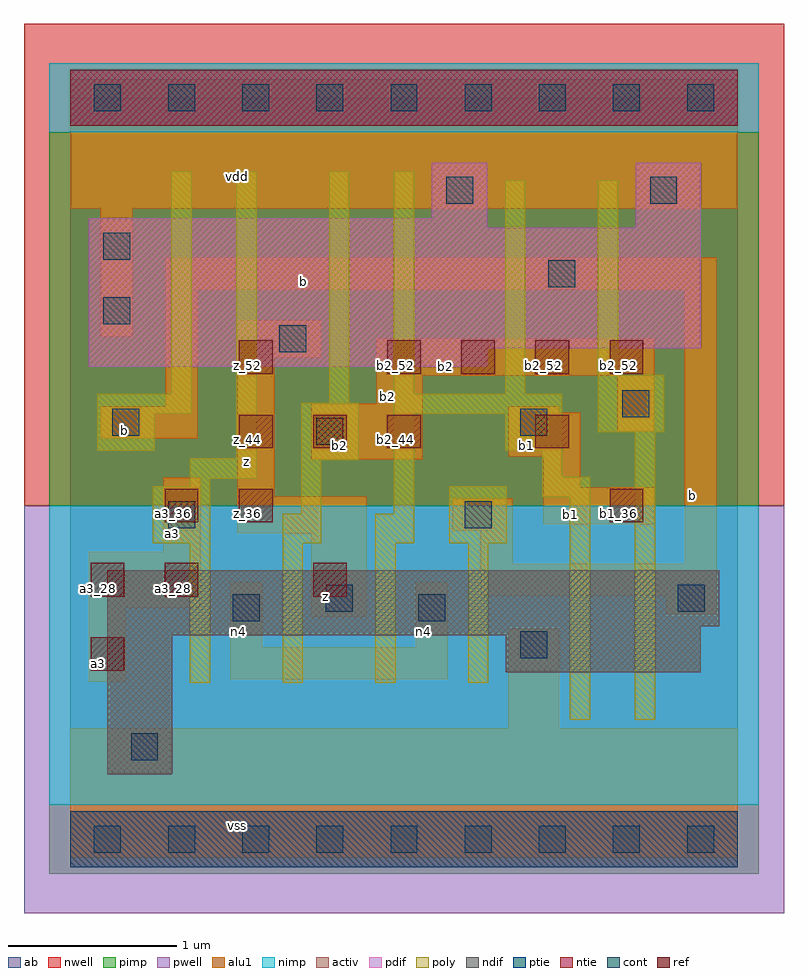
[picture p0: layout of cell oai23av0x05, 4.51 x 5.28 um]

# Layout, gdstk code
import gdstk
lib = gdstk.Library(unit=1e-6, precision=2.5e-09)
def R(c, l, rs):  # rectangles x0, y0, x1, y1
    for r in rs: c.add(gdstk.rectangle(r[:2], r[2:], *l))
def A(c, l, x, y, w, h, nx, ny, dx, dy):  # array of equal rectangles
    R(c, l, [(x+i*dx, y+j*dy, x+i*dx+w, y+j*dy+h) for i in range(nx) for j in range(ny)])
ndif = (3, 0)
pdif = (4, 0)
ntie = (5, 0)
ptie = (6, 0)
ref = (24, 0)
cont = (25, 0)
pwell = (41, 0)
nwell = (42, 0)
activ = (43, 0)
pimp = (44, 0)
nimp = (45, 0)
poly = (46, 0)
alu1 = (49, 0)
ab = (63, 0)

oai23av0x05 = lib.new_cell('oai23av0x05')
R(oai23av0x05, ndif, [(0.22,0.385,0.605,1.21), (2.585,0.99,3.74,1.21), (0.22,1.21,3.74,1.265), (0.22,1.265,3.85,1.595)])
R(oai23av0x05, pdif, [(0.11,2.805,2.475,2.915), (0.11,2.915,3.74,3.63), (0.11,3.63,2.475,3.685), (3.355,3.63,3.74,4.015), (2.145,3.685,2.475,4.015)])
R(oai23av0x05, ntie, [(0,4.235,3.96,4.565)])
R(oai23av0x05, ptie, [(0,-0.165,3.96,0.165)])
A(oai23av0x05, ref, 1, 2.32, 0.2, 0.2, 3, 1, 0.44, 0)
A(oai23av0x05, ref, 1.88, 2.76, 0.2, 0.2, 4, 1, 0.44, 0)
R(oai23av0x05, ref, [(0.12,1,0.32,1.2), (0.12,1.44,0.32,1.64), (0.56,1.44,0.76,1.64), (1.44,1.44,1.64,1.64), (0.56,1.88,0.76,2.08), (1,1.88,1.2,2.08), (3.2,1.88,3.4,2.08), (2.76,2.32,2.96,2.52), (1,2.76,1.2,2.96)])
A(oai23av0x05, cont, 0.14, -0.08, 0.16, 0.16, 9, 2, 0.44, 4.4)
R(oai23av0x05, cont, [(0.36,0.47,0.52,0.63), (2.67,1.075,2.83,1.235), (0.965,1.295,1.125,1.455), (2.065,1.295,2.225,1.455), (1.515,1.35,1.675,1.51), (3.605,1.35,3.765,1.51), (0.58,1.845,0.74,2.005), (2.34,1.845,2.5,2.005), (1.46,2.34,1.62,2.5), (0.25,2.395,0.41,2.555), (2.67,2.395,2.83,2.555), (3.275,2.505,3.435,2.665), (1.24,2.89,1.4,3.05), (0.195,3.055,0.355,3.215), (2.835,3.275,2.995,3.435), (0.195,3.44,0.355,3.6), (2.23,3.77,2.39,3.93), (3.44,3.77,3.6,3.93)])
R(oai23av0x05, pwell, [(-0.275,-0.44,4.235,1.98)])
R(oai23av0x05, nwell, [(-0.275,1.98,4.235,4.84)])
R(oai23av0x05, activ, [(0,-0.165,3.96,0.165), (0.22,0.385,0.605,1.21), (2.585,0.99,3.74,1.21), (0.22,1.21,3.74,1.265), (0.22,1.265,3.85,1.595), (0.11,2.805,2.475,2.915), (0.11,2.915,3.74,3.63), (0.11,3.63,2.475,3.685), (3.355,3.63,3.74,4.015), (2.145,3.685,2.475,4.015), (0,4.235,3.96,4.565)])
R(oai23av0x05, pimp, [(-0.125,-0.205,4.085,0.205), (-0.125,1.98,4.085,4.195)])
R(oai23av0x05, nimp, [(-0.125,0.205,4.085,1.98), (-0.125,4.195,4.085,4.605)])
A(oai23av0x05, poly, 0.71, 0.93, 0.12, 0.825, 4, 1, 0.55, 0)
R(oai23av0x05, poly, [(2.965,0.71,3.085,2.03), (3.35,0.71,3.47,2.415), (0.49,1.755,0.83,2.095), (1.26,1.755,1.49,1.93), (1.81,1.755,2.04,1.93), (2.25,1.755,2.59,2.095), (1.37,1.93,1.49,2.25), (1.92,1.93,2.04,2.525), (2.8,2.03,3.085,2.15), (0.71,2.095,0.83,2.14), (0.71,2.14,1.105,2.26), (2.8,2.15,2.92,2.305), (1.37,2.25,1.71,2.59), (0.985,2.26,1.105,3.965), (0.16,2.305,0.5,2.525), (2.58,2.305,2.92,2.525), (3.13,2.415,3.525,2.755), (0.16,2.525,0.72,2.645), (1.92,2.525,2.92,2.645), (1.535,2.59,1.655,3.965), (0.6,2.645,0.72,3.965), (1.92,2.645,2.04,3.965), (2.58,2.645,2.7,3.91), (3.13,2.755,3.25,3.91)])
R(oai23av0x05, alu1, [(0,-0.11,3.96,0.66), (2.6,0.66,2.9,1.25), (0.11,0.935,0.33,1.375), (0.95,0.95,2.24,1.14), (0.95,1.14,1.14,1.525), (2.05,1.14,2.24,1.525), (1.43,1.32,1.76,1.815), (3.535,1.335,3.835,1.445), (0.11,1.375,0.77,1.705), (2.435,1.445,3.835,1.635), (2.435,1.635,2.625,1.83), (3.645,1.635,3.835,3.26), (0.55,1.705,0.77,2.145), (0.99,1.815,1.76,2.035), (2.27,1.83,2.625,2.02), (2.805,1.87,3.465,2.09), (0.99,2.035,1.21,2.86), (2.805,2.09,3.025,2.27), (1.43,2.255,2.09,2.585), (2.6,2.27,3.025,2.53), (0.18,2.38,0.755,2.57), (3.245,2.42,3.465,2.75), (2.6,2.53,2.9,2.57), (0.565,2.57,0.755,3.26), (1.815,2.585,2.09,2.75), (1.815,2.75,3.465,2.97), (0.99,2.86,1.485,3.08), (0.18,2.985,0.37,3.74), (0.565,3.26,3.835,3.45), (0,3.74,3.96,4.51)])
R(oai23av0x05, ab, [(0,0,3.96,4.4)])
oai23av0x05.add(gdstk.Label('vss', (0.99,0.0825), layer=49, texttype=0))
oai23av0x05.add(gdstk.Label('n4', (2.0975,1.235), layer=49, texttype=0))
oai23av0x05.add(gdstk.Label('b', (3.6925,2.04), layer=49, texttype=0))
oai23av0x05.add(gdstk.Label('z', (1.5125,1.4425), layer=49, texttype=0))
oai23av0x05.add(gdstk.Label('n4', (0.9975,1.235), layer=49, texttype=0))
oai23av0x05.add(gdstk.Label('a3', (0.165,1.045), layer=49, texttype=0))
oai23av0x05.add(gdstk.Label('b1', (2.97,1.925), layer=49, texttype=0))
oai23av0x05.add(gdstk.Label('b1', (2.705,2.335), layer=49, texttype=0))
oai23av0x05.add(gdstk.Label('b2', (1.595,2.3375), layer=49, texttype=0))
oai23av0x05.add(gdstk.Label('b2', (1.8825,2.625), layer=49, texttype=0))
oai23av0x05.add(gdstk.Label('b2', (2.2275,2.805), layer=49, texttype=0))
oai23av0x05.add(gdstk.Label('z', (1.045,2.24), layer=49, texttype=0))
oai23av0x05.add(gdstk.Label('a3', (0.605,1.815), layer=49, texttype=0))
oai23av0x05.add(gdstk.Label('b', (0.3225,2.4275), layer=49, texttype=0))
oai23av0x05.add(gdstk.Label('b', (1.3825,3.3075), layer=49, texttype=0))
oai23av0x05.add(gdstk.Label('vdd', (0.99,3.9325), layer=49, texttype=0))
oai23av0x05.add(gdstk.Label('a3_20', (0.17,1.05), layer=24, texttype=0))
oai23av0x05.add(gdstk.Label('b2_44', (1.49,2.37), layer=24, texttype=0))
oai23av0x05.add(gdstk.Label('b1_36', (3.25,1.93), layer=24, texttype=0))
oai23av0x05.add(gdstk.Label('b1_44', (2.81,2.37), layer=24, texttype=0))
oai23av0x05.add(gdstk.Label('z_28', (1.49,1.49), layer=24, texttype=0))
oai23av0x05.add(gdstk.Label('b2_44', (1.93,2.37), layer=24, texttype=0))
oai23av0x05.add(gdstk.Label('b2_52', (3.25,2.81), layer=24, texttype=0))
oai23av0x05.add(gdstk.Label('b2_52', (2.81,2.81), layer=24, texttype=0))
oai23av0x05.add(gdstk.Label('b2_52', (2.37,2.81), layer=24, texttype=0))
oai23av0x05.add(gdstk.Label('b2_52', (1.93,2.81), layer=24, texttype=0))
oai23av0x05.add(gdstk.Label('z_52', (1.05,2.81), layer=24, texttype=0))
oai23av0x05.add(gdstk.Label('z_36', (1.05,1.93), layer=24, texttype=0))
oai23av0x05.add(gdstk.Label('z_44', (1.05,2.37), layer=24, texttype=0))
oai23av0x05.add(gdstk.Label('a3_28', (0.17,1.49), layer=24, texttype=0))
oai23av0x05.add(gdstk.Label('a3_28', (0.61,1.49), layer=24, texttype=0))
oai23av0x05.add(gdstk.Label('a3_36', (0.61,1.93), layer=24, texttype=0))

lib.write_gds('oai23av0x05.gds')
